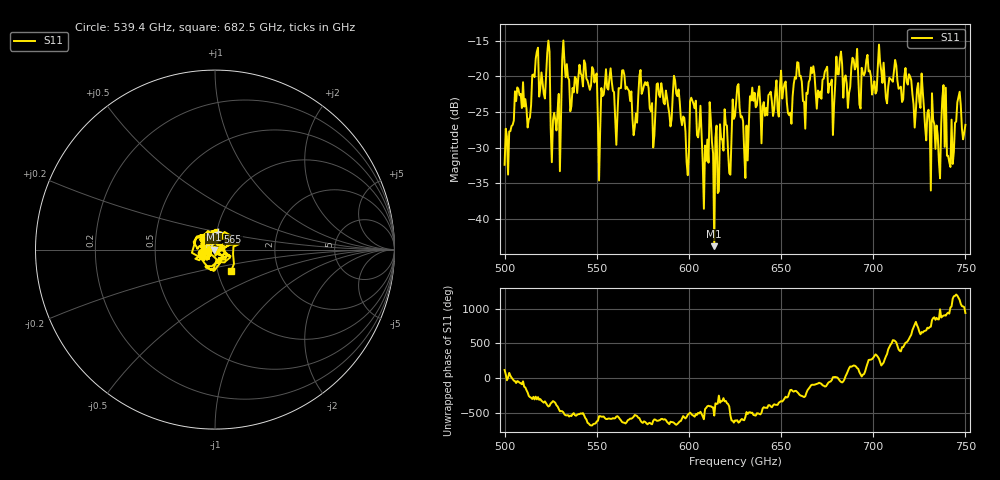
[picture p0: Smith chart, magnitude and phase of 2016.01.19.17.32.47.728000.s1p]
!Created with skrf (http://scikit-rf.org).
# GHz S RI R 50.0
!freq ReS11 ImS11
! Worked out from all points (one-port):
!   401 points, 500 GHz to 750 GHz, reference 50 ohm
!   lowest |S11| = -43.8 dB at 613.8 GHz (marker M1), VSWR 1.01, Z = 49.4 - j0.0405 ohm
!   |S11| at or under -10 dB: start of sweep to end of sweep
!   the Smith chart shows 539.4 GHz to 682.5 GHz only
!   S11 on the Smith chart (normalised r, x): 539.4 GHz: 0.86, -0.03; 565 GHz: 1.01, +0.21; 682.5 GHz: 1.16, -0.28
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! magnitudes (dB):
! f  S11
! 500 GHz  -32.4
! 516.9 GHz  -17.5
! 523.1 GHz  -16.7
! 526.2 GHz  -26.2
! 531.2 GHz  -17.5
! 539.4 GHz  -22.3
! 548.8 GHz  -20.8
! 551.9 GHz  -27.3
! 562.5 GHz  -21.6
! 565 GHz  -19.8
! 570.6 GHz  -27.1
! 574.4 GHz  -22.4
! 593.8 GHz  -22.8
! 598.8 GHz  -32.1
! 602.5 GHz  -23.8
! 613.8 GHz  -43.8
! 625 GHz  -25.6
! 631.2 GHz  -26.9
! 634.4 GHz  -21.6
! 656.2 GHz  -22.8
! 682.5 GHz  -16.5
! 687.5 GHz  -21.5
! 718.8 GHz  -21.1
! 735 GHz  -28.3
! 738.1 GHz  -21.2
! 741.9 GHz  -32.7
! 746.2 GHz  -22.9
! 750 GHz  -26.8
